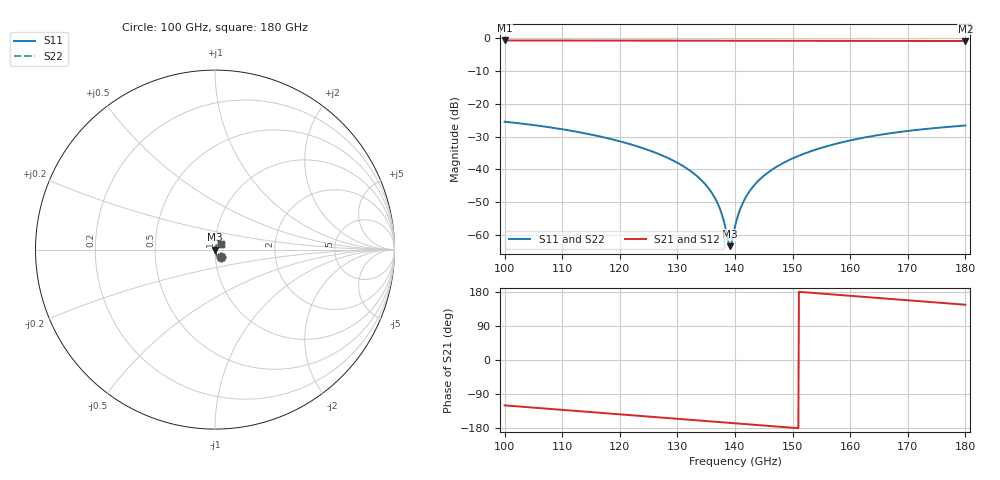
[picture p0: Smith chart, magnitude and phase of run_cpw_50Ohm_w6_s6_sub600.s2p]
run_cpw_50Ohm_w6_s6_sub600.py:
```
import os
import sys
sys.path.insert(0, os.path.abspath(os.path.join(os.path.dirname(__file__), 'modules')))
import skrf as rf
import modules.util_stackup_reader as stackup_reader
import modules.util_gds_reader as gds_reader
import modules.util_utilities as utilities
import modules.util_simulation_setup as simulation_setup
import modules.util_meshlines as util_meshlines

from openEMS import openEMS
import numpy as np
import matplotlib.pyplot as plt

# Model comments
# 
# Run model with both port excitations, for full S-matrix:
# Get S11 and S21 from port 1 excitation
# Get S22 and S12 from port 2 excitation
# Meshing: simulation_setup.setupSimulation() uses xy_mesh_function=util_meshlines.create_xy_mesh_from_polygons 


# ======================== workflow settings ================================

# preview model/mesh only?
# postprocess existing data without re-running simulation?
preview_only = False
postprocess_only = False

# ===================== input files and path settings =======================

gds_filename = "cpw_50Ohm_w6_s6.gds"   # geometries
XML_filename = "SG13G2_600um.xml" # stackup

# preprocess GDSII for safe handling of cutouts/holes?
preprocess_gds = False

# merge via polygons with distance less than .. microns, set to 0 to disable via merging.
merge_polygon_size = 0

# get path for this simulation file
script_path = utilities.get_script_path(__file__)

# use script filename as model basename
model_basename = utilities.get_basename(__file__)

# set and create directory for simulation output
sim_path = utilities.create_sim_path (script_path, model_basename)
print('Simulation data directory: ', sim_path)

# change current path to model script path
os.chdir(os.path.dirname(os.path.abspath(__file__)))

# ======================== simulation settings ================================

unit   = 1e-6  # geometry is in microns
margin = 50    # distance in microns from GDSII geometry boundary to simulation boundary 

fstart =  100e9
fstop  = 180e9
numfreq = 801

refined_cellsize = 1.0/2  # mesh cell size in conductor region

# choices for boundary: 
# 'PEC' : perfect electric conductor (default)
# 'PMC' : perfect magnetic conductor, useful for symmetries
# 'MUR' : simple MUR absorbing boundary conditions
# 'PML_8' : PML absorbing boundary conditions
Boundaries = ['PML_8', 'PML_8', 'PML_8', 'PML_8', 'PEC', 'PML_8']

cells_per_wavelength = 20   # how many mesh cells per wavelength, must be 10 or more
energy_limit = -30          # end criteria for residual energy (dB)

# ports from GDSII Data, polygon geometry from specified special layer
# note that for multiport simulation, excitations are switched on/off in simulation_setup.createSimulation below

simulation_ports = simulation_setup.all_simulation_ports()
# second port has opposite direction, because ground is on the other side
simulation_ports.add_port(simulation_setup.simulation_port(portnumber=1, voltage=1, port_Z0=50, source_layernum=201, target_layername='TopMetal2', direction='-y'))
simulation_ports.add_port(simulation_setup.simulation_port(portnumber=2, voltage=1, port_Z0=50, source_layernum=202, target_layername='TopMetal2', direction='y'))

# ======================== simulation ================================

# get technology stackup data
materials_list, dielectrics_list, metals_list = stackup_reader.read_substrate (XML_filename)
# get list of layers from technology
layernumbers = metals_list.getlayernumbers()
layernumbers.extend(simulation_ports.portlayers)

# read geometries from GDSII, only purpose 0
allpolygons = gds_reader.read_gds(gds_filename, layernumbers, purposelist=[0], metals_list=metals_list, preprocess=preprocess_gds, merge_polygon_size=merge_polygon_size)

# calculate maximum cellsize from wavelength in dielectric
wavelength_air = 3e8/fstop / unit
max_cellsize = (wavelength_air)/(np.sqrt(materials_list.eps_max)*cells_per_wavelength) 



########### create model, run and post-process ###########

FDTD = openEMS(EndCriteria=np.exp(energy_limit/10 * np.log(10)))
FDTD.SetGaussExcite( (fstart+fstop)/2, (fstop-fstart)/2 )
FDTD.SetBoundaryCond( Boundaries )

# Create simulation for port 1 and 2 excitation, return value is list of data paths, one for each excitation
data_paths = []
for excite_ports in [[1]]:  # list of ports that are excited one after another
    FDTD = simulation_setup.setupSimulation (excite_ports, 
                                             simulation_ports, 
                                             FDTD, 
                                             materials_list, 
                                             dielectrics_list, 
                                             metals_list, 
                                             allpolygons, 
                                             max_cellsize, 
                                             refined_cellsize, 
                                             margin, 
                                             unit, 
                                             xy_mesh_function=util_meshlines.create_xy_mesh_from_polygons,
                                             air_around = 0.1*wavelength_air)
    
    data_paths.append(simulation_setup.runSimulation (excite_ports, FDTD, sim_path, model_basename, preview_only, postprocess_only))


########## evaluation of results with composite GSG ports ###########

if preview_only==False:

    print('Begin data evaluation')

    # define dB function for S-parameters
    def dB(value):
        return 20.0*np.log10(np.abs(value))        

    # define phase function for S-parameters
    def phase(value):
        return np.angle(value, deg=True) 

    f = np.linspace(fstart,fstop,numfreq)


    # get results, CSX port definition is read from simulation ports object
    # S12, S22 is available because we have simulated both port1 and port2  excitation
    s11 = utilities.calculate_Sij (1, 1, f, sim_path, simulation_ports)
    s21 = utilities.calculate_Sij (2, 1, f, sim_path, simulation_ports)
    
    # S12, S22 is NOT available because we have NOT simulated port2 excitation
    # fake it by assuming symmetry
    s22 = s11
    s12 = s21
    
    # write Touchstone S2P file
    s2p_name = os.path.join(sim_path, model_basename + '.s2p')
    utilities.write_snp (np.array([[s11, s21],[s12,s22]]),f, s2p_name)

    print('Starting plots')

    fig, axis = plt.subplots(num='Return Loss', tight_layout=True)
    axis.plot(f/1e9, dB(s11), 'k-',  linewidth=2, label='S11 (dB)')
    axis.plot(f/1e9, dB(s22), 'r--', linewidth=2, label='S22 (dB)')
    axis.grid()
    axis.set_xmargin(0)
    axis.set_xlabel('Frequency (GHz)')
    axis.set_title('Return Loss')
    axis.legend()
    
    fig, axis = plt.subplots(num='Insertion Loss', tight_layout=True)
    axis.plot(f/1e9, dB(s21), 'k-',  linewidth=2, label='S21 (dB)')
    axis.plot(f/1e9, dB(s12), 'r--', linewidth=2, label='S12 (dB)')
    axis.grid()
    axis.set_xmargin(0)
    axis.set_xlabel('Frequency (GHz)')
    axis.set_title('Insertion Loss')
    axis.legend()

    fig, axis = plt.subplots(num='Transmission Phase', tight_layout=True)
    axis.plot(f/1e9, phase(s21), 'k-',  linewidth=2, label='S21 (dB)')
    axis.grid()
    axis.set_xmargin(0)
    axis.set_xlabel('Frequency (GHz)')
    axis.set_title('Transmission Phase')
    axis.legend()


    # input data, must be 2-port S2P data
    sub = rf.Network(s2p_name)

    # physical length must be supplied by user
    length = 502*1e-6

    # target frequency for pi model extraction
    f_target = 140*1e9


    # frequency class, see https://github.com/scikit-rf/scikit-rf/blob/master/skrf/frequency.py
    freq = sub.frequency
    print('S2P frequency range is ',freq.start/1e9, ' to ', freq.stop/1e9, ' GHz')
    print('Extraction frequency: ', f_target/1e9, ' GHz')
    print('Physical line length: ', length/1e6, ' micron')
    assert f_target < freq.stop

    # get index for exctraction
    f = freq.f
    ftarget_index = rf.find_nearest_index(freq.f, f_target)
    omega = 2*np.pi*f[ftarget_index]

    z11=sub.z[0::,0,0]
    y11=sub.y[0::,0,0]
    Zline = np.sqrt(z11/y11)

    gamma0 = 1/length * np.arctanh(1/(Zline*y11))
    gamma_wideband =  gamma0.real + 1j*np.unwrap (gamma0.imag*length, period=np.pi/2)/length


    gamma_ftarget = gamma_wideband[ftarget_index]
    Zline_ftarget = Zline[ftarget_index]


    R = (gamma_ftarget*Zline_ftarget).real
    L = (gamma_ftarget*Zline_ftarget).imag / omega
    G = (gamma_ftarget/Zline_ftarget).real
    C = (gamma_ftarget/Zline_ftarget).imag / omega


    print('_________________________________________________')
    print('RLGC line parameters')
    print(f"Your input for physical line length: {length:.3e} m")
    print(f"Extraction frequency {f[ftarget_index]/1e9:.3f} GHz")
    print(f"R   [Ohm/m]: {R:.3e}") 
    print(f"L'  [H/m]  : {L:.3e}")  
    print(f"G   [S/m]  : {G:.3e}") 
    print(f"C'  [H/m]  : {C:.3e}")  
    print(f"Zline [Ohm]: {Zline_ftarget.real:.3f}")  
    print('')

    # Calculate total series L and total
       # show all plots
    plt.show()
```
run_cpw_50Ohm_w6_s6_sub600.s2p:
#  Hz  S  RI  R  50
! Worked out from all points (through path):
!   801 points, 100 GHz to 180 GHz, reference 50 ohm
!   highest |S21| = -0.60 dB at 100 GHz (marker M1); lowest = -0.8 dB at 180 GHz (marker M2)
!   group delay of S21, straight-line fit = 3.28 ps
!   lowest |S11| = -63.5 dB at 139.1 GHz (marker M3), VSWR 1.00, Z = 49.9 - j0.00266 ohm
!   |S11| at or under -10 dB: start of sweep to end of sweep
!   |S22| runs from -63.5 to -25.4 dB; largest |S21 - S12| = 0
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1e11  0.0323 -0.0426  -0.4631 -0.8096  -0.4631 -0.8096  0.0323 -0.0426
1.177e11  0.00835 -0.029  -0.7179 -0.5889  -0.7179 -0.5889  0.00835 -0.029
1.298e11  0.00048 -0.0129  -0.8392 -0.3925  -0.8392 -0.3925  0.00048 -0.0129
1.359e11  -0.000708 -0.00443  -0.8807 -0.2834  -0.8807 -0.2834  -0.000708 -0.00443
1.391e11  -0.00067 -2.66e-05  -0.8966 -0.2244  -0.8966 -0.2244  -0.00067 -2.66e-05
1.4e11  -0.000579 0.0012  -0.9004 -0.2077  -0.9004 -0.2077  -0.000579 0.0012
1.413e11  -0.000384 0.00297  -0.9053 -0.1834  -0.9053 -0.1834  -0.000384 0.00297
1.433e11  6.56e-05 0.00567  -0.9115 -0.1458  -0.9115 -0.1458  6.56e-05 0.00567
1.503e11  0.00314 0.0148  -0.9211 -0.0134  -0.9211 -0.0134  0.00314 0.0148
1.625e11  0.0141 0.0273  -0.8932 0.2148  -0.8932 0.2148  0.0141 0.0273
1.8e11  0.0346 0.0315  -0.7573 0.5142  -0.7573 0.5142  0.0346 0.0315
